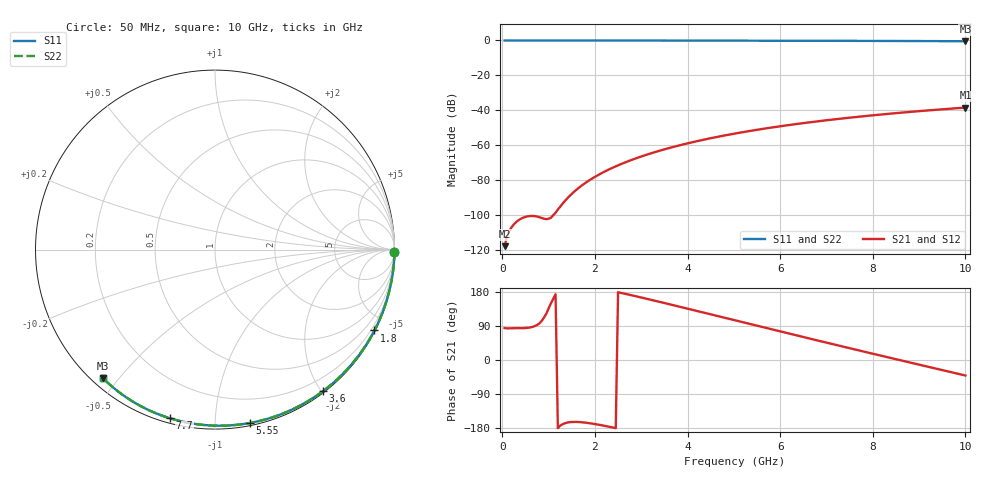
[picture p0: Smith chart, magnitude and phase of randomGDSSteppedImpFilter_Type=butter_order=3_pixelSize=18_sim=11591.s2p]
! freq	dB(S11)	phase(S11)	dB(S12)	phase(S12)
!  dB(S21)	phase(S21)	dB(S22)	phase(S22)
!S-par simulation data
#  GHz  S  DB  R 50
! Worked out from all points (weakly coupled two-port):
!   200 points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, 50 MHz to 10 GHz, reference 50 ohm
!   highest |S21| = -38.43 dB at 10 GHz (marker M1); lowest = -117.8 dB at 50 MHz (marker M2)
!   lowest |S11| = -0.4 dB at 10 GHz (marker M3), VSWR 39.17, Z = 1.54 - j22.7 ohm
!   |S11| at or under -10 dB: nowhere
!   |S22| runs from -0.4 to 0.0 dB; largest |S21 - S12| = 0
!   S11 on the Smith chart (normalised r, x): 50 MHz: open; 1.8 GHz: 0.04, -4.18; 3.6 GHz: 0.02, -2.02; 5.55 GHz: 0.02, -1.22; 7.7 GHz: 0.02, -0.77; 10 GHz: 0.03, -0.45
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0.05  -0.00 -0.8  -117.76 84.2  -117.76 84.2  -0.00 -0.8
0.9  -0.02 -13.6  -102.04 112.0  -102.04 112.0  -0.02 -13.6
1.75  -0.03 -26.1  -82.37 -164.7  -82.37 -164.7  -0.03 -26.2
1.8  -0.03 -26.9  -81.44 -165.4  -81.44 -165.4  -0.03 -26.9
1.85  -0.04 -27.6  -80.55 -166.2  -80.55 -166.2  -0.04 -27.6
1.9  -0.04 -28.3  -79.70 -167.0  -79.70 -167.0  -0.04 -28.3
2.05  -0.04 -30.5  -77.32 -170.1  -77.32 -170.1  -0.04 -30.5
2.25  -0.04 -33.4  -74.53 -174.7  -74.53 -174.7  -0.04 -33.4
2.45  -0.05 -36.3  -72.05 -179.8  -72.05 -179.8  -0.05 -36.3
2.65  -0.05 -39.2  -69.83 174.8  -69.83 174.8  -0.05 -39.2
3  -0.06 -44.2  -66.43 165.0  -66.43 165.0  -0.06 -44.2
3.4  -0.07 -49.8  -63.09 153.3  -63.09 153.3  -0.07 -49.8
3.6  -0.07 -52.6  -61.60 147.4  -61.60 147.4  -0.07 -52.6
4.3  -0.09 -62.1  -57.09 126.5  -57.09 126.5  -0.09 -62.1
5.05  -0.11 -72.1  -53.16 104.0  -53.16 104.0  -0.11 -72.1
5.55  -0.13 -78.5  -50.93 89.0  -50.93 89.0  -0.13 -78.5
6.1  -0.15 -85.5  -48.75 72.5  -48.75 72.5  -0.15 -85.5
6.7  -0.18 -92.9  -46.64 54.7  -46.64 54.7  -0.18 -92.9
7.7  -0.24 -104.9  -43.64 25.3  -43.64 25.3  -0.24 -104.9
8.35  -0.29 -112.4  -41.96 6.4  -41.96 6.4  -0.29 -112.4
9.15  -0.36 -121.6  -40.14 -16.6  -40.14 -16.6  -0.36 -121.6
10  -0.44 -131.2  -38.43 -40.9  -38.43 -40.9  -0.44 -131.2
